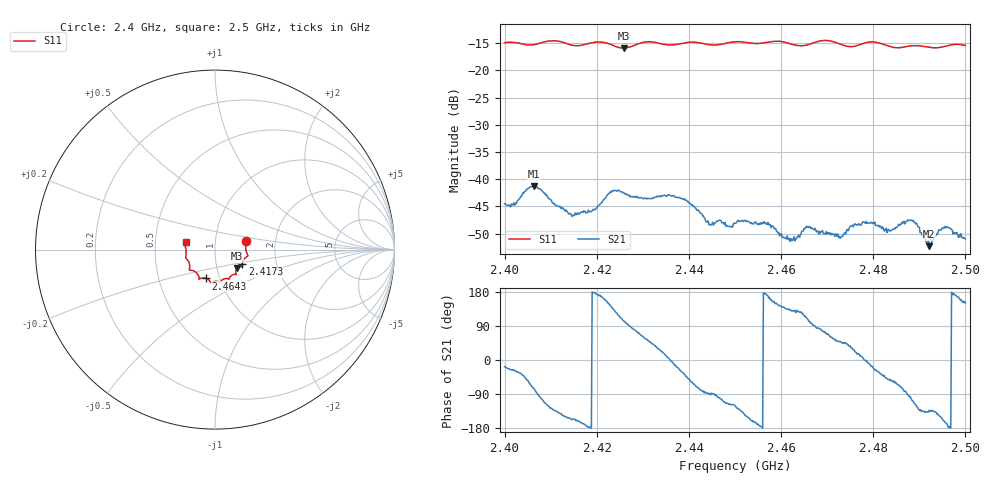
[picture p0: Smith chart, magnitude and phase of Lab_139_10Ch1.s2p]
# Hz S RI R 50
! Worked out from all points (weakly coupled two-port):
!   601 points, 2.4 GHz to 2.5 GHz, reference 50 ohm
!   highest |S21| = -41.25 dB at 2.4063 GHz (marker M1); lowest = -52.3 dB at 2.4922 GHz (marker M2)
!   lowest |S11| = -15.9 dB at 2.4258 GHz (marker M3), VSWR 1.38, Z = 62.3 - j13.2 ohm
!   |S11| at or under -10 dB: start of sweep to end of sweep
!   S12 and S22 are empty: the file has one direction only
!   S11 on the Smith chart (normalised r, x): 2.4 GHz: 1.41, +0.14; 2.4173 GHz: 1.34, -0.23; 2.4643 GHz: 0.86, -0.28; 2.5 GHz: 0.72, +0.06
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2.4e9  0.1729 0.0487  0.00566 -0.00181  0 0  0 0
2.406333e9  0.172 -0.00191  0.00227 -0.00836  0 0  0 0
2.414333e9  0.1639 -0.05  -0.00435 -0.00204  0 0  0 0
2.416667e9  0.1526 -0.0748  -0.00485 -0.00122  0 0  0 0
2.417333e9  0.1517 -0.0822  -0.00493 -0.000885  0 0  0 0
2.423333e9  0.1429 -0.0937  -0.00577 0.00521  0 0  0 0
2.425833e9  0.122 -0.1034  -0.00174 0.00728  0 0  0 0
2.433333e9  0.1127 -0.1376  0.00597 0.00346  0 0  0 0
2.439333e9  0.0793 -0.1607  0.00464 -0.00442  0 0  0 0
2.444833e9  0.057 -0.1614  0.000138 -0.0038  0 0  0 0
2.45e9  0.0289 -0.181  -0.00201 -0.00339  0 0  0 0
2.456667e9  -0.0118 -0.1794  -0.00394 0.000385  0 0  0 0
2.462e9  -0.03 -0.1728  -0.00179 0.00199  0 0  0 0
2.464333e9  -0.0499 -0.1605  -0.00189 0.00253  0 0  0 0
2.466667e9  -0.0758 -0.1593  -0.000425 0.00355  0 0  0 0
2.473e9  -0.0911 -0.147  0.00198 0.00216  0 0  0 0
2.478e9  -0.1353 -0.1154  0.00405 1.26e-05  0 0  0 0
2.483333e9  -0.1407 -0.0899  0.00214 -0.00272  0 0  0 0
2.488333e9  -0.1613 -0.0483  -0.00114 -0.00404  0 0  0 0
2.492167e9  -0.1608 -0.0238  -0.00163 -0.00178  0 0  0 0
2.495667e9  -0.1658 0.0165  -0.00344 -0.000884  0 0  0 0
2.5e9  -0.1639 0.0426  -0.00244 0.00141  0 0  0 0
